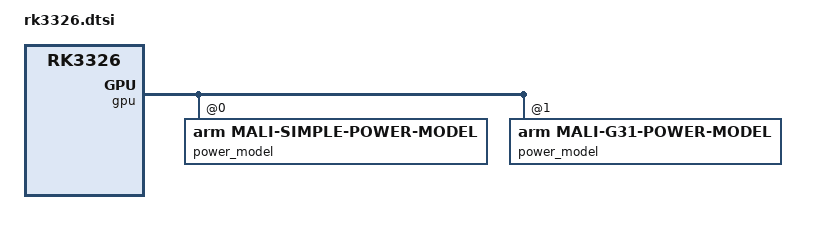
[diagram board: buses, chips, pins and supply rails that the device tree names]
// SPDX-License-Identifier: (GPL-2.0+ OR MIT)
/*
 * Copyright (c) 2020 Fuzhou Rockchip Electronics Co., Ltd
 */

#include "px30.dtsi"

/ {
	reserved-memory {
		#address-cells = <2>;
		#size-cells = <2>;
		ranges;

		/*
		 * The kernel's log kept across a reset (pstore's ramoops,
		 * linux-px2.config): its console, a panic's or oops's dump,
		 * read back from /sys/fs/pstore on the next start. A reboot
		 * after a panic leaves the DDR powered, so they survive it; a
		 * power-off does not. Where the GKD Pixel 2's own firmware
		 * and twigUI keep theirs, 0x110000 for 960 KB: after BL31's
		 * share memory, below U-Boot's text at 2 MiB, in the 2 MiB
		 * U-Boot keeps from Linux for BL31 (here loaded at
		 * 0x40000-0x77000), so nothing else in the boot touches it.
		 * Their 512 KB console and 128 KB records; their 320 KB for
		 * userspace's messages (pmsg) goes to records instead, three
		 * of them, so three panics in a row are all kept.
		 */
		ramoops: ramoops@110000 {
			compatible = "ramoops";
			reg = <0x0 0x110000 0x0 0xf0000>;
			record-size = <0x20000>;
			console-size = <0x80000>;
			ftrace-size = <0x0>;
			pmsg-size = <0x0>;
		};

		linux,cma {
			compatible = "shared-dma-pool";
			reusable;
			size = <0x0 0x4000000>;	/* 64 MiB */
			linux,cma-default;
		};
	};

	/* DDR frequency scaling through Rockchip's BL31 (ROCKNIX's
	 * 036-px30-dmc-devfreq): the loader leaves the DDR at 333 MHz */
	dfi: dfi@ff610000 {
		compatible = "rockchip,px30-dfi";
		reg = <0x0 0xff610000 0x0 0x400>;
		rockchip,pmu = <&pmugrf>;
	};

	dmc: dmc {
		compatible = "rockchip,px30-dmc";
		interrupts = <GIC_SPI 105 IRQ_TYPE_LEVEL_HIGH>;
		interrupt-names = "complete";
		devfreq-events = <&dfi>;
		operating-points-v2 = <&dmc_opp_table>;
		status = "disabled";
	};

	dmc_opp_table: opp-table-dmc {
		compatible = "operating-points-v2";

		opp-194000000 {
			opp-hz = /bits/ 64 <194000000>;
			opp-microvolt = <950000>;
		};

		opp-328000000 {
			opp-hz = /bits/ 64 <328000000>;
			opp-microvolt = <950000>;
		};

		opp-450000000 {
			opp-hz = /bits/ 64 <450000000>;
			opp-microvolt = <950000>;
		};

		opp-528000000 {
			opp-hz = /bits/ 64 <528000000>;
			opp-microvolt = <975000>;
		};

		opp-666000000 {
			opp-hz = /bits/ 64 <666000000>;
			opp-microvolt = <1050000>;
		};
	};
};

&display_subsystem {
	ports = <&vopb_out>;
};

/delete-node/ &dsi_in_vopl;
/delete-node/ &lvds_vopl_in;
/delete-node/ &vopl;
/delete-node/ &vopl_mmu;

&cpu0_opp_table {
	/delete-node/ opp-600000000;
	/delete-node/ opp-816000000;
	/delete-node/ opp-1200000000;

	opp-1416000000 {
		opp-hz = /bits/ 64 <1416000000>;
		opp-microvolt = <1350000 1350000 1350000>;
		clock-latency-ns = <40000>;
		turbo-mode;
	};
};

&gpu_opp_table {
	/delete-node/ opp-200000000;
	/delete-node/ opp-300000000;
	/delete-node/ opp-400000000;
	/delete-node/ opp-480000000;

	opp-560000000 {
		opp-hz = /bits/ 64 <560000000>;
		opp-microvolt = <1150000>;
	};
};

&gpu {
	clock-names = "bus";
	resets = <&cru SRST_GPU>;
	power_policy = "coarse_demand";

	power_model@0 {
		compatible = "arm,mali-simple-power-model";
		static-coefficient = <100000>;
		dynamic-coefficient = <953>;
		ts = <(-108890) 63610 (-1355) 20>;
		thermal-zone = "gpu-thermal";
	};

	power_model@1 {
		compatible = "arm,mali-g31-power-model";
		scale = <5>;
	};
};

&usb20_otg {
	usb-role-switch;
	role-switch-default-mode = "host";
};
